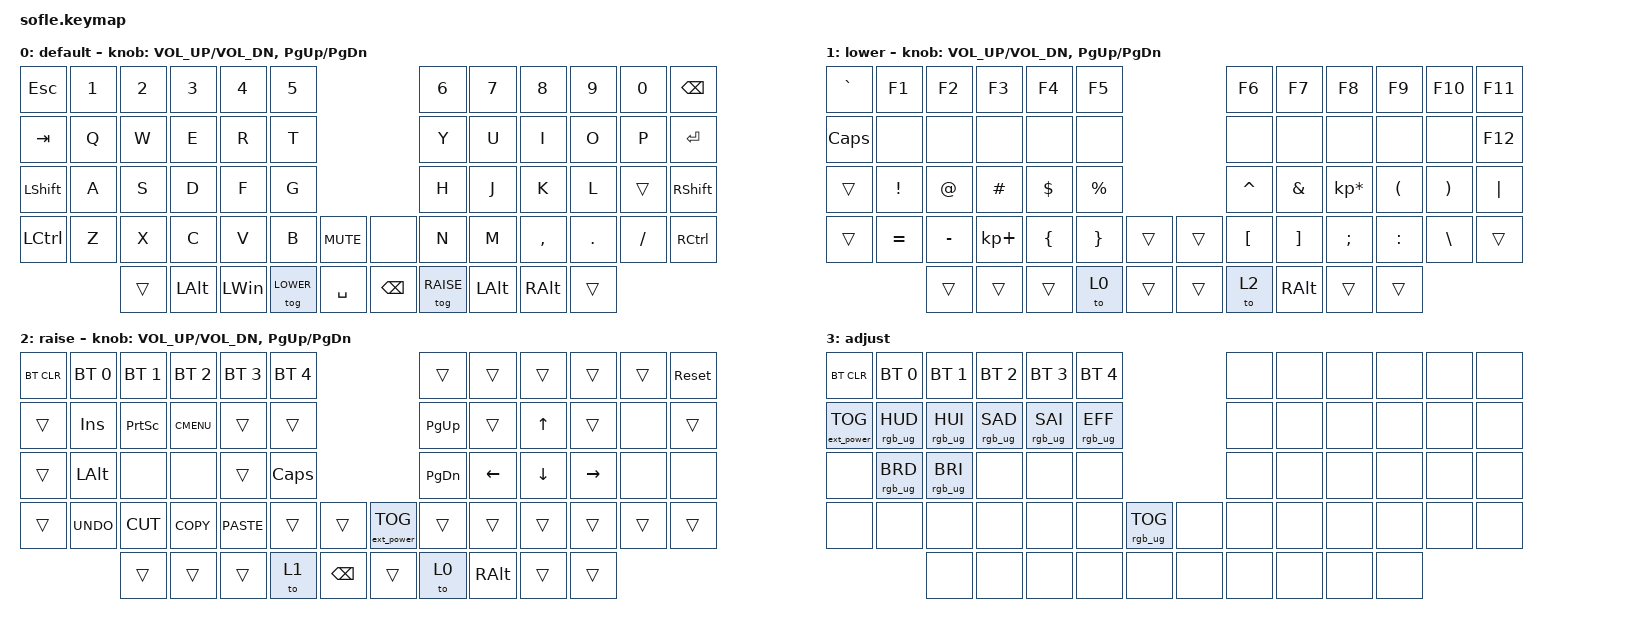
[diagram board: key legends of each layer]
/*
 * Copyright (c) 2020 The ZMK Contributors
 *
 * SPDX-License-Identifier: MIT
 */

#include <behaviors.dtsi>
#include <dt-bindings/zmk/bt.h>
#include <dt-bindings/zmk/ext_power.h>
#include <dt-bindings/zmk/keys.h>
#include <dt-bindings/zmk/rgb.h>

#define BASE 0
#define LOWER 1
#define RAISE 2
#define ADJUST 3

/ {
    // Activate ADJUST layer by pressing raise and lower

    conditional_layers {
        compatible = "zmk,conditional-layers";

        adjust_layer {
            if-layers = <LOWER RAISE>;
            then-layer = <ADJUST>;
        };
    };

    keymap {
        compatible = "zmk,keymap";

        default_layer {
            label = "default";

            // ------------------------------------------------------------------------------------------------------------
            // |   `   |  1  |  2  |  3   |  4   |  5   |                   |  6   |  7    |  8    |  9   |   0   |       |
            // |  ESC  |  Q  |  W  |  E   |  R   |  T   |                   |  Y   |  U    |  I    |  O   |   P   | BKSPC |
            // |  TAB  |  A  |  S  |  D   |  F   |  G   |                   |  H   |  J    |  K    |  L   |   ;   |   '   |
            // | SHIFT |  Z  |  X  |  C   |  V   |  B   |  MUTE  |  |       |  N   |  M    |  ,    |  .   |   /   | SHIFT |
            //               | GUI | ALT  | CTRL | LOWER|  ENTER |  | SPACE | RAISE| CTRL  | ALT   | GUI  |

            bindings = <
&kp ESCAPE        &kp N1  &kp N2  &kp N3        &kp N4        &kp N5                                   &kp N6      &kp N7        &kp N8         &kp N9   &kp N0     &kp BACKSPACE
&kp TAB           &kp Q   &kp W   &kp E         &kp R         &kp T                                    &kp Y       &kp U         &kp I          &kp O    &kp P      &kp ENTER
&kp LEFT_SHIFT    &kp A   &kp S   &kp D         &kp F         &kp G                                    &kp H       &kp J         &kp K          &kp L    &trans     &kp RIGHT_SHIFT
&kp LEFT_CONTROL  &kp Z   &kp X   &kp C         &kp V         &kp B       &kp C_MUTE    &none          &kp N       &kp M         &kp COMMA      &kp DOT  &kp SLASH  &kp RIGHT_CONTROL
                          &trans  &kp LEFT_ALT  &kp LEFT_WIN  &tog LOWER  &kp SPACE     &kp BACKSPACE  &tog RAISE  &kp LEFT_ALT  &kp RIGHT_ALT  &trans
            >;

            sensor-bindings = <&inc_dec_kp C_VOL_UP C_VOL_DN &inc_dec_kp PG_UP PG_DN>;
        };

        lower_layer {
            label = "lower";

            // TODO: Some binds are waiting for shifted keycode support.
            // ------------------------------------------------------------------------------------------------------------
            // |       |  F1 |  F2 |  F3  |  F4  |  F5  |                   |  F6  |  F7   |  F8   |  F9  |  F10  |  F11  |
            // |   `   |  1  |  2  |  3   |  4   |  5   |                   |  6   |  7    |  8    |  9   |   0   |  F12  |
            // |       |  !  |  @  |  #   |  $   |  %   |                   |  ^   |  &    |  *    |  (   |   )   |   |   |
            // |       |  =  |  -  |  +   |  {   |  }   |        |  |       |  [   |  ]    |  ;    |  :   |   \   |       |
            //               |     |      |      |      |        |  |       |      |       |       |      |

            bindings = <
&kp GRAVE     &kp F1     &kp F2     &kp F3       &kp F4    &kp F5                       &kp F6     &kp F7         &kp F8           &kp F9     &kp F10   &kp F11
&kp CAPSLOCK  &none      &none      &none        &none     &none                        &none      &none          &none            &none      &none     &kp F12
&trans        &kp EXCL   &kp AT     &kp HASH     &kp DLLR  &kp PRCNT                    &kp CARET  &kp AMPS       &kp KP_MULTIPLY  &kp LPAR   &kp RPAR  &kp PIPE
&trans        &kp EQUAL  &kp MINUS  &kp KP_PLUS  &kp LBRC  &kp RBRC   &trans    &trans  &kp LBKT   &kp RBKT       &kp SEMI         &kp COLON  &kp BSLH  &trans
                         &trans     &trans       &trans    &to 0      &trans    &trans  &to 2      &kp RIGHT_ALT  &trans           &trans
            >;

            sensor-bindings = <&inc_dec_kp C_VOL_UP C_VOL_DN &inc_dec_kp PG_UP PG_DN>;
        };

        raise_layer {
            label = "raise";

            // ------------------------------------------------------------------------------------------------------------
            // | BTCLR | BT1  | BT2  |  BT3  |  BT4  |  BT5 |                |      |      |       |      |       |       |
            // |       | INS  | PSCR | GUI   |       |      |                | PGUP |      |   ^   |      |       |       |
            // |       | ALT  | CTRL | SHIFT |       | CAPS |                | PGDN |   <- |   v   |  ->  |  DEL  | BKSPC |
            // |       | UNDO | CUT  | COPY  | PASTE |      |      |  |      |      |      |       |      |       |       |
            //                |      |       |       |      |      |  |      |      |      |       |      |

            bindings = <
&bt BT_CLR  &bt BT_SEL 0  &bt BT_SEL 1  &bt BT_SEL 2  &bt BT_SEL 3  &bt BT_SEL 4                                      &trans     &trans         &trans    &trans     &trans  &sys_reset
&trans      &kp INS       &kp PSCRN     &kp K_CMENU   &trans        &trans                                            &kp PG_UP  &trans         &kp UP    &trans     &none   &trans
&trans      &kp LALT      &none         &none         &trans        &kp CLCK                                          &kp PG_DN  &kp LEFT       &kp DOWN  &kp RIGHT  &none   &none
&trans      &kp K_UNDO    &kp K_CUT     &kp K_COPY    &kp K_PASTE   &trans        &trans           &ext_power EP_TOG  &trans     &trans         &trans    &trans     &trans  &trans
                          &trans        &trans        &trans        &to 1         &kp BACKSPACE    &trans             &to 0      &kp RIGHT_ALT  &trans    &trans
            >;

            sensor-bindings = <&inc_dec_kp C_VOL_UP C_VOL_DN &inc_dec_kp PG_UP PG_DN>;
        };

        adjust_layer {
            // ----------------------------------------------------------------------------------------------------------------------------
            // | BTCLR  |  BT1    |  BT2    |   BT3   |   BT4   |   BT5   |                  |      |      |       |      |       |       |
            // | EXTPWR | RGB_HUD | RGB_HUI | RGB_SAD | RGB_SAI | RGB_EFF |                  |      |      |       |      |       |       |
            // |        | RGB_BRD | RGB_BRI |         |         |         |                  |      |      |       |      |       |       |
            // |        |         |         |         |         |         | RGB_TOG | |      |      |      |       |      |       |       |
            //                    |         |         |         |         |         | |      |      |      |       |      |

            label = "adjust";
            bindings = <
&bt BT_CLR         &bt BT_SEL 0     &bt BT_SEL 1     &bt BT_SEL 2     &bt BT_SEL 3     &bt BT_SEL 4                               &none  &none  &none  &none  &none  &none
&ext_power EP_TOG  &rgb_ug RGB_HUD  &rgb_ug RGB_HUI  &rgb_ug RGB_SAD  &rgb_ug RGB_SAI  &rgb_ug RGB_EFF                            &none  &none  &none  &none  &none  &none
&none              &rgb_ug RGB_BRD  &rgb_ug RGB_BRI  &none            &none            &none                                      &none  &none  &none  &none  &none  &none
&none              &none            &none            &none            &none            &none            &rgb_ug RGB_TOG    &none  &none  &none  &none  &none  &none  &none
                                    &none            &none            &none            &none            &none              &none  &none  &none  &none  &none
            >;
        };
    };
};
